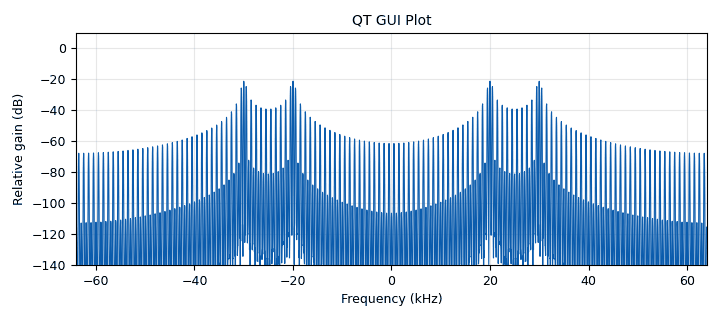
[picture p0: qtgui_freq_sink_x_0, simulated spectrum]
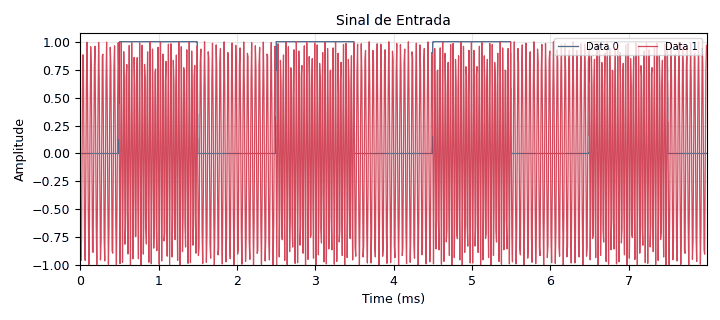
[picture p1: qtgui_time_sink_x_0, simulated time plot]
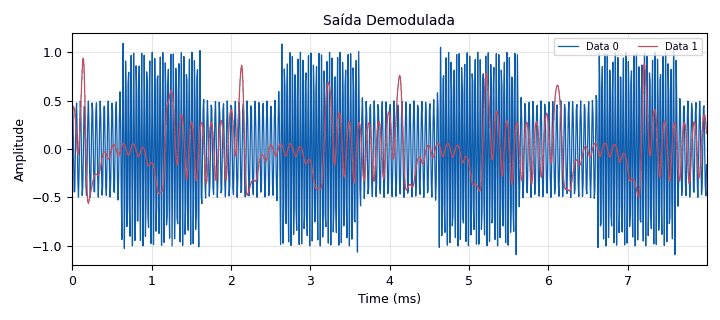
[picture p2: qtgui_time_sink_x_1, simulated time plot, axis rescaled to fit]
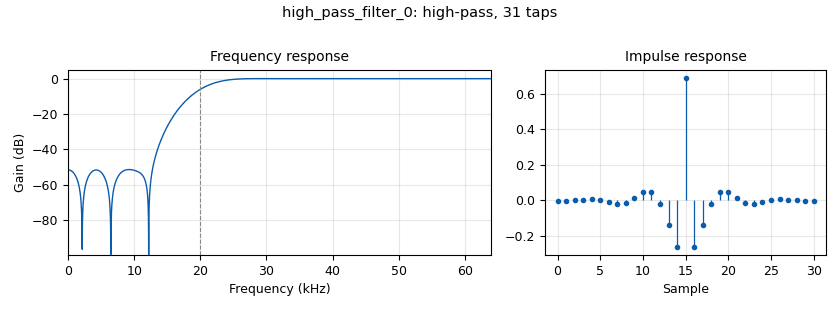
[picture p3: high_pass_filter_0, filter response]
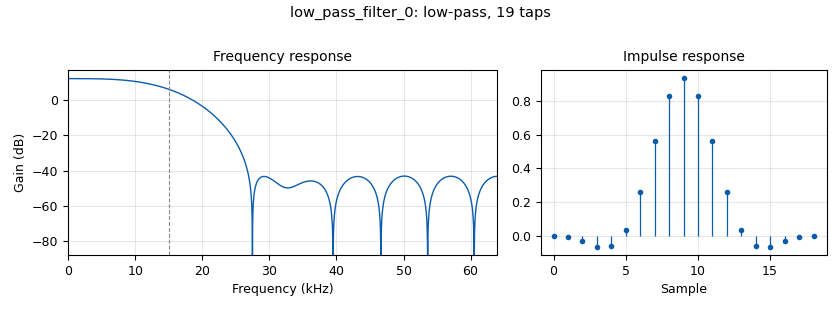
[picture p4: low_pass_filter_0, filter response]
<?xml version='1.0' encoding='utf-8'?>
<?grc format='1' created='3.7.9'?>
<flow_graph>
<block>
<key>options</key>
<param><key>id</key><value>top_block</value></param>
<param><key>category</key><value>Custom</value></param>
<param><key>generate_options</key><value>qt_gui</value></param>
</block>
<block>
<key>variable_qtgui_range</key>
<param><key>id</key><value>A</value></param>
<param><key>value</key><value>1</value></param>
<param><key>label</key><value>amplitude</value></param>
<param><key>orient</key><value>Qt.Horizontal</value></param>
<param><key>start</key><value>0</value></param>
<param><key>step</key><value>0.1</value></param>
<param><key>stop</key><value>2</value></param>
</block>
<block>
<key>variable_qtgui_range</key>
<param><key>id</key><value>F</value></param>
<param><key>value</key><value>500</value></param>
<param><key>label</key><value>frequencia</value></param>
<param><key>orient</key><value>Qt.Horizontal</value></param>
<param><key>start</key><value>0</value></param>
<param><key>step</key><value>100</value></param>
<param><key>stop</key><value>1000</value></param>
</block>
<block>
<key>variable_qtgui_range</key>
<param><key>id</key><value>Foff</value></param>
<param><key>value</key><value>20000</value></param>
<param><key>label</key><value>frequencia de offset</value></param>
<param><key>orient</key><value>Qt.Horizontal</value></param>
<param><key>start</key><value>10000</value></param>
<param><key>step</key><value>500</value></param>
<param><key>stop</key><value>30000</value></param>
</block>
<block>
<key>variable</key>
<param><key>id</key><value>samp_rate</value></param>
<param><key>value</key><value>4*32000</value></param>
</block>
<block>
<key>analog_sig_source_x</key>
<param><key>id</key><value>analog_sig_source_x_0</value></param>
<param><key>amp</key><value>A</value></param>
<param><key>freq</key><value>F</value></param>
<param><key>offset</key><value>0</value></param>
<param><key>type</key><value>float</value></param>
<param><key>samp_rate</key><value>samp_rate</value></param>
<param><key>waveform</key><value>analog.GR_SQR_WAVE</value></param>
</block>
<block>
<key>blocks_abs_xx</key>
<param><key>id</key><value>blocks_abs_xx_0</value></param>
<param><key>type</key><value>float</value></param>
</block>
<block>
<key>blocks_add_const_vxx</key>
<param><key>id</key><value>blocks_add_const_vxx_0</value></param>
<param><key>const</key><value>Foff/10000.0</value></param>
<param><key>type</key><value>float</value></param>
</block>
<block>
<key>blocks_throttle</key>
<param><key>id</key><value>blocks_throttle_0</value></param>
<param><key>samples_per_second</key><value>samp_rate</value></param>
<param><key>type</key><value>float</value></param>
</block>
<block>
<key>blocks_vco_f</key>
<param><key>id</key><value>blocks_vco_f_0</value></param>
<param><key>amplitude</key><value>1</value></param>
<param><key>samp_rate</key><value>samp_rate</value></param>
<param><key>sensitivity</key><value>6.28*10**4</value></param>
</block>
<block>
<key>dc_blocker_xx</key>
<param><key>id</key><value>dc_blocker_xx_0</value></param>
<param><key>length</key><value>32</value></param>
<param><key>long_form</key><value>True</value></param>
<param><key>type</key><value>ff</value></param>
</block>
<block>
<key>high_pass_filter</key>
<param><key>id</key><value>high_pass_filter_0</value></param>
<param><key>cutoff_freq</key><value>20000</value></param>
<param><key>decim</key><value>1</value></param>
<param><key>type</key><value>fir_filter_fff</value></param>
<param><key>gain</key><value>1</value></param>
<param><key>samp_rate</key><value>samp_rate</value></param>
<param><key>width</key><value>10000</value></param>
<param><key>win</key><value>firdes.WIN_HAMMING</value></param>
</block>
<block>
<key>low_pass_filter</key>
<param><key>id</key><value>low_pass_filter_0</value></param>
<param><key>cutoff_freq</key><value>15000</value></param>
<param><key>decim</key><value>1</value></param>
<param><key>type</key><value>fir_filter_fff</value></param>
<param><key>gain</key><value>4</value></param>
<param><key>samp_rate</key><value>samp_rate</value></param>
<param><key>width</key><value>16000</value></param>
<param><key>win</key><value>firdes.WIN_HAMMING</value></param>
</block>
<block>
<key>qtgui_freq_sink_x</key>
<param><key>id</key><value>qtgui_freq_sink_x_0</value></param>
<param><key>bw</key><value>samp_rate</value></param>
<param><key>fc</key><value>0</value></param>
<param><key>fftsize</key><value>1024*3</value></param>
<param><key>name</key><value>QT GUI Plot</value></param>
<param><key>showports</key><value>True</value></param>
<param><key>type</key><value>float</value></param>
<param><key>wintype</key><value>firdes.WIN_BLACKMAN_hARRIS</value></param>
</block>
<block>
<key>qtgui_time_sink_x</key>
<param><key>id</key><value>qtgui_time_sink_x_0</value></param>
<param><key>color1</key><value>"blue"</value></param>
<param><key>label1</key><value></value></param>
<param><key>color2</key><value>"red"</value></param>
<param><key>label2</key><value></value></param>
<param><key>name</key><value>"Sinal de Entrada"</value></param>
<param><key>nconnections</key><value>2</value></param>
<param><key>size</key><value>1024</value></param>
<param><key>srate</key><value>samp_rate</value></param>
<param><key>type</key><value>float</value></param>
</block>
<block>
<key>qtgui_time_sink_x</key>
<param><key>id</key><value>qtgui_time_sink_x_1</value></param>
<param><key>color1</key><value>"blue"</value></param>
<param><key>label1</key><value></value></param>
<param><key>color2</key><value>"red"</value></param>
<param><key>label2</key><value></value></param>
<param><key>name</key><value>"Saída Demodulada"</value></param>
<param><key>nconnections</key><value>2</value></param>
<param><key>size</key><value>1024</value></param>
<param><key>srate</key><value>samp_rate</value></param>
<param><key>type</key><value>float</value></param>
</block>
<connection><source_block_id>analog_sig_source_x_0</source_block_id><sink_block_id>blocks_throttle_0</sink_block_id><source_key>0</source_key><sink_key>0</sink_key></connection>
<connection><source_block_id>blocks_abs_xx_0</source_block_id><sink_block_id>low_pass_filter_0</sink_block_id><source_key>0</source_key><sink_key>0</sink_key></connection>
<connection><source_block_id>blocks_add_const_vxx_0</source_block_id><sink_block_id>blocks_vco_f_0</sink_block_id><source_key>0</source_key><sink_key>0</sink_key></connection>
<connection><source_block_id>blocks_throttle_0</source_block_id><sink_block_id>blocks_add_const_vxx_0</sink_block_id><source_key>0</source_key><sink_key>0</sink_key></connection>
<connection><source_block_id>blocks_throttle_0</source_block_id><sink_block_id>qtgui_time_sink_x_0</sink_block_id><source_key>0</source_key><sink_key>0</sink_key></connection>
<connection><source_block_id>blocks_vco_f_0</source_block_id><sink_block_id>high_pass_filter_0</sink_block_id><source_key>0</source_key><sink_key>0</sink_key></connection>
<connection><source_block_id>blocks_vco_f_0</source_block_id><sink_block_id>qtgui_freq_sink_x_0</sink_block_id><source_key>0</source_key><sink_key>0</sink_key></connection>
<connection><source_block_id>blocks_vco_f_0</source_block_id><sink_block_id>qtgui_time_sink_x_0</sink_block_id><source_key>0</source_key><sink_key>1</sink_key></connection>
<connection><source_block_id>dc_blocker_xx_0</source_block_id><sink_block_id>qtgui_time_sink_x_1</sink_block_id><source_key>0</source_key><sink_key>1</sink_key></connection>
<connection><source_block_id>high_pass_filter_0</source_block_id><sink_block_id>blocks_abs_xx_0</sink_block_id><source_key>0</source_key><sink_key>0</sink_key></connection>
<connection><source_block_id>high_pass_filter_0</source_block_id><sink_block_id>qtgui_time_sink_x_1</sink_block_id><source_key>0</source_key><sink_key>0</sink_key></connection>
<connection><source_block_id>low_pass_filter_0</source_block_id><sink_block_id>dc_blocker_xx_0</sink_block_id><source_key>0</source_key><sink_key>0</sink_key></connection>
</flow_graph>
